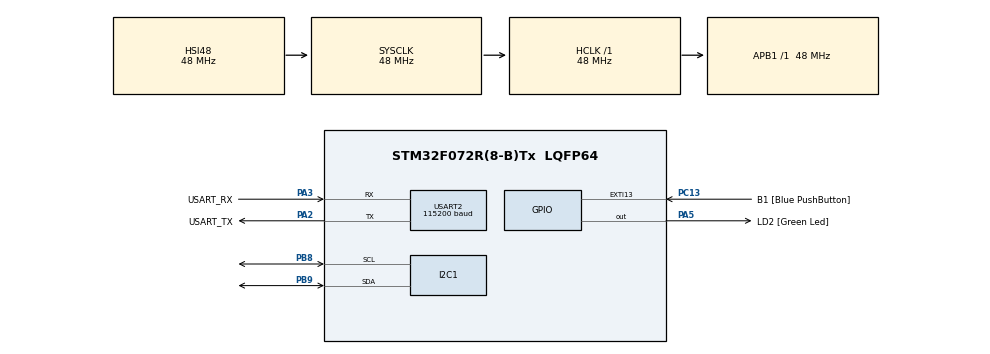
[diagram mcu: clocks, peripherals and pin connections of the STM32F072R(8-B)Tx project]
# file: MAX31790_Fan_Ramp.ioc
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I2C1.Timing=0x00201D2B
Mcu.Family=STM32F0
Mcu.Name=STM32F072R(8-B)Tx
Mcu.Package=LQFP64
PA13.GPIO_Label=TMS
PA13.Mode=Serial_Wire
PA13.Signal=SYS_SWDIO
PA14.GPIO_Label=TCK
PA14.Mode=Serial_Wire
PA14.Signal=SYS_SWCLK
PA2.GPIO_Label=USART_TX
PA2.GPIO_Mode=GPIO_MODE_AF_PP
PA2.GPIO_PuPd=GPIO_NOPULL
PA2.GPIO_Speed=GPIO_SPEED_FREQ_HIGH
PA2.Mode=Asynchronous
PA2.Signal=USART2_TX
PA3.GPIO_Label=USART_RX
PA3.GPIO_Mode=GPIO_MODE_AF_PP
PA3.GPIO_PuPd=GPIO_NOPULL
PA3.GPIO_Speed=GPIO_SPEED_FREQ_HIGH
PA3.Mode=Asynchronous
PA3.Signal=USART2_RX
PA5.GPIO_Label=LD2 [Green Led]
PA5.GPIO_Mode=GPIO_MODE_OUTPUT_PP
PA5.GPIO_PuPd=GPIO_NOPULL
PA5.GPIO_Speed=GPIO_SPEED_FREQ_LOW
PA5.Signal=GPIO_Output
PB8.Mode=I2C
PB8.Signal=I2C1_SCL
PB9.Mode=I2C
PB9.Signal=I2C1_SDA
PC13.GPIO_Label=B1 [Blue PushButton]
PC13.GPIO_ModeDefaultEXTI=GPIO_MODE_IT_FALLING
PC13.Signal=GPXTI13
PC14-OSC32_IN.Mode=LSE-External-Oscillator
PC14-OSC32_IN.Signal=RCC_OSC32_IN
PC15-OSC32_OUT.Mode=LSE-External-Oscillator
PC15-OSC32_OUT.Signal=RCC_OSC32_OUT
PF0-OSC_IN.Mode=HSE-External-Clock-Source
PF0-OSC_IN.Signal=RCC_OSC_IN
PF1-OSC_OUT.Signal=RCC_OSC_OUT
ProjectManager.HeapSize=0x200
ProjectManager.StackSize=0x400
ProjectManager.TargetToolchain=STM32CubeIDE
RCC.AHBFreq_Value=48000000
RCC.APB1Freq_Value=48000000
RCC.APB1TimFreq_Value=48000000
RCC.FLatency-AdvancedSettings=FLASH_LATENCY_1
RCC.HCLKFreq_Value=48000000
RCC.PLLDivider=RCC_PREDIV_DIV2
RCC.PLLMUL=RCC_PLL_MUL12
RCC.PREFETCH_ENABLE-AdvancedSettings=1
RCC.SYSCLKFreq_VALUE=48000000
RCC.SYSCLKSource=RCC_SYSCLKSOURCE_HSI48
USART2.BaudRate=115200
USART2.VirtualMode=VM_ASYNC
USART2.VirtualMode-Asynchronous=VM_ASYNC
board=NUCLEO-F072RB

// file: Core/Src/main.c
/* USER CODE BEGIN Header */
/**
  ******************************************************************************
  * @file           : main.c
  * @brief          : Main program body
  ******************************************************************************
  * @attention
  *
  * Copyright (c) 2024 STMicroelectronics.
  * All rights reserved.
  *
  * This software is licensed under terms that can be found in the LICENSE file
  * in the root directory of this software component.
  * If no LICENSE file comes with this software, it is provided AS-IS.
  *
  ******************************************************************************
  */
/* USER CODE END Header */
#include "main.h"

/* USER CODE BEGIN Includes */

#include "max31790.h"
#include <stdio.h>
#include <string.h>

/* USER CODE END Includes */

I2C_HandleTypeDef hi2c1;

UART_HandleTypeDef huart2;

void SystemClock_Config(void);
static void MX_GPIO_Init(void);
static void MX_USART2_UART_Init(void);
static void MX_I2C1_Init(void);

int main(void)
{

  /* MCU Configuration--------------------------------------------------------*/

  /* Reset of all peripherals, Initializes the Flash interface and the Systick. */
  HAL_Init();

  /* Configure the system clock */
  SystemClock_Config();

  /* Initialize all configured peripherals */
  MX_GPIO_Init();
  MX_USART2_UART_Init();
  MX_I2C1_Init();
  /* USER CODE BEGIN 2 */

  /* Creates the fan controller struct */
  fanController controller_1 = {
		  &hi2c1,			/* Stores pointer to the I2C handler */
		  GND_GND_ADDR
  };	/* Stores the correct I2C address */

  /* Fan variables */
  uint16_t dc = 255;
  int8_t inc = 1;
  uint16_t rpm = 0;

  /* Sets initial config for fan controller */
  initMAX31790(&controller_1);

  /* Buffer for uart */
  char buf[64];

  /* USER CODE END 2 */

  /* Infinite loop */
  while (1)
  {

    /* USER CODE BEGIN 3 */

	/* Sets the duty cycle of the fan */
	setFanPWM(&controller_1, CH1, dc);

	/* Increments or decrements the duty cycle value */
	dc += inc;

	/* Flips counter once limits are reached */
	if ((dc == DC_MIN) || (dc == DC_MAX))
	{
		inc *= -1;
	}

	/* Gets fan RPM */
	rpm = getFanRPM(&controller_1, CH1);

	/* Displays values to UART 2 */
	sprintf(buf, "PWM-%d\nRPM-%d\n", dc, rpm);
	HAL_UART_Transmit(&huart2, (uint8_t *)buf, strlen(buf), HAL_MAX_DELAY);

	/* Toggles green LED on and off */
	HAL_GPIO_WritePin(GPIOA, GPIO_PIN_5, !HAL_GPIO_ReadPin(GPIOA, GPIO_PIN_5));

	/* Adds small delay */
	HAL_Delay(50);
  }
  /* USER CODE END 3 */
}

void SystemClock_Config(void)
{
  RCC_OscInitTypeDef RCC_OscInitStruct = {0};
  RCC_ClkInitTypeDef RCC_ClkInitStruct = {0};
  RCC_PeriphCLKInitTypeDef PeriphClkInit = {0};

  /** Initializes the RCC Oscillators according to the specified parameters
  * in the RCC_OscInitTypeDef structure.
  */
  RCC_OscInitStruct.OscillatorType = RCC_OSCILLATORTYPE_HSI|RCC_OSCILLATORTYPE_HSI48;
  RCC_OscInitStruct.HSIState = RCC_HSI_ON;
  RCC_OscInitStruct.HSI48State = RCC_HSI48_ON;
  RCC_OscInitStruct.HSICalibrationValue = RCC_HSICALIBRATION_DEFAULT;
  RCC_OscInitStruct.PLL.PLLState = RCC_PLL_NONE;
  if (HAL_RCC_OscConfig(&RCC_OscInitStruct) != HAL_OK)
  {
    Error_Handler();
  }

  /** Initializes the CPU, AHB and APB buses clocks
  */
  RCC_ClkInitStruct.ClockType = RCC_CLOCKTYPE_HCLK|RCC_CLOCKTYPE_SYSCLK
                              |RCC_CLOCKTYPE_PCLK1;
  RCC_ClkInitStruct.SYSCLKSource = RCC_SYSCLKSOURCE_HSI48;
  RCC_ClkInitStruct.AHBCLKDivider = RCC_SYSCLK_DIV1;
  RCC_ClkInitStruct.APB1CLKDivider = RCC_HCLK_DIV1;

  if (HAL_RCC_ClockConfig(&RCC_ClkInitStruct, FLASH_LATENCY_1) != HAL_OK)
  {
    Error_Handler();
  }
  PeriphClkInit.PeriphClockSelection = RCC_PERIPHCLK_USART2|RCC_PERIPHCLK_I2C1;
  PeriphClkInit.Usart2ClockSelection = RCC_USART2CLKSOURCE_PCLK1;
  PeriphClkInit.I2c1ClockSelection = RCC_I2C1CLKSOURCE_HSI;
  if (HAL_RCCEx_PeriphCLKConfig(&PeriphClkInit) != HAL_OK)
  {
    Error_Handler();
  }
}

static void MX_I2C1_Init(void)
{

  hi2c1.Instance = I2C1;
  hi2c1.Init.Timing = 0x00201D2B;
  hi2c1.Init.OwnAddress1 = 0;
  hi2c1.Init.AddressingMode = I2C_ADDRESSINGMODE_7BIT;
  hi2c1.Init.DualAddressMode = I2C_DUALADDRESS_DISABLE;
  hi2c1.Init.OwnAddress2 = 0;
  hi2c1.Init.OwnAddress2Masks = I2C_OA2_NOMASK;
  hi2c1.Init.GeneralCallMode = I2C_GENERALCALL_DISABLE;
  hi2c1.Init.NoStretchMode = I2C_NOSTRETCH_DISABLE;
  if (HAL_I2C_Init(&hi2c1) != HAL_OK)
  {
    Error_Handler();
  }

  /** Configure Analogue filter
  */
  if (HAL_I2CEx_ConfigAnalogFilter(&hi2c1, I2C_ANALOGFILTER_ENABLE) != HAL_OK)
  {
    Error_Handler();
  }

  /** Configure Digital filter
  */
  if (HAL_I2CEx_ConfigDigitalFilter(&hi2c1, 0) != HAL_OK)
  {
    Error_Handler();
  }

}

static void MX_USART2_UART_Init(void)
{

  huart2.Instance = USART2;
  huart2.Init.BaudRate = 115200;
  huart2.Init.WordLength = UART_WORDLENGTH_8B;
  huart2.Init.StopBits = UART_STOPBITS_1;
  huart2.Init.Parity = UART_PARITY_NONE;
  huart2.Init.Mode = UART_MODE_TX_RX;
  huart2.Init.HwFlowCtl = UART_HWCONTROL_NONE;
  huart2.Init.OverSampling = UART_OVERSAMPLING_16;
  huart2.Init.OneBitSampling = UART_ONE_BIT_SAMPLE_DISABLE;
  huart2.AdvancedInit.AdvFeatureInit = UART_ADVFEATURE_NO_INIT;
  if (HAL_UART_Init(&huart2) != HAL_OK)
  {
    Error_Handler();
  }

}

static void MX_GPIO_Init(void)
{
  GPIO_InitTypeDef GPIO_InitStruct = {0};

  /* GPIO Ports Clock Enable */
  __HAL_RCC_GPIOC_CLK_ENABLE();
  __HAL_RCC_GPIOF_CLK_ENABLE();
  __HAL_RCC_GPIOA_CLK_ENABLE();
  __HAL_RCC_GPIOB_CLK_ENABLE();

  /*Configure GPIO pin Output Level */
  HAL_GPIO_WritePin(LD2_GPIO_Port, LD2_Pin, GPIO_PIN_RESET);

  /*Configure GPIO pin : B1_Pin */
  GPIO_InitStruct.Pin = B1_Pin;
  GPIO_InitStruct.Mode = GPIO_MODE_IT_FALLING;
  GPIO_InitStruct.Pull = GPIO_NOPULL;
  HAL_GPIO_Init(B1_GPIO_Port, &GPIO_InitStruct);

  /*Configure GPIO pin : LD2_Pin */
  GPIO_InitStruct.Pin = LD2_Pin;
  GPIO_InitStruct.Mode = GPIO_MODE_OUTPUT_PP;
  GPIO_InitStruct.Pull = GPIO_NOPULL;
  GPIO_InitStruct.Speed = GPIO_SPEED_FREQ_LOW;
  HAL_GPIO_Init(LD2_GPIO_Port, &GPIO_InitStruct);

}

void Error_Handler(void)
{
  __disable_irq();
  while (1)
  {
  }
}
